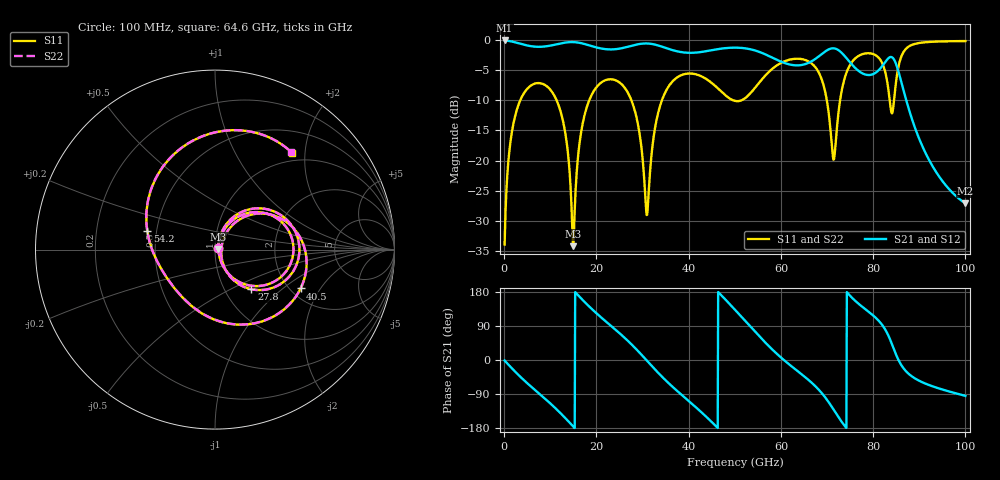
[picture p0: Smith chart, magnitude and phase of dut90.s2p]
! Touchstone file exported from HFSS 2026.1.0
!  File:  C:/ffzhzh/LocalFiles/Ansys_Project_Files/temp_train_TSV_RDL_90_1783631045_33328.aedt
!  Generated:  05:13:18 AM Jul 10, 2026
!  Design:  TSV_RDL
!  Project:  temp_train_TSV_RDL_90_1783631045_33328
! Variables:
!  h_bsmrdl = 4.13um
!  h_ox = 20um
!  h_rdl = 5um
!  h_sub = 97.27um
!  h_tmrdl = 4.3um
!  h_tsv = 97.27um
!  h_via = 3um
!  l_bsmrdl = 443.31um
!  l_sub = 3574.05um
!  l_tmrdl = 434.03um
!  m_sub = 200um
!  pitch = 45.01um
!  r_tsv = 12.47um
!  s_tmrdl = 10um
!  w_bsmrdl = 12.18um
!  w_sub = 500um
!  w_tmrdl = 23.82um
!  x_tsv_center1 = 445.94um
!  x_tsv_center2 = 901.43um
!  x_tsv_center3 = 1359.28um
!  x_tsv_center4 = 1814.77um
!  x_tsv_center5 = 2272.62um
!  x_tsv_center6 = 2728.11um
# GHz S MA R 50.000000
! Terminal data exported
! Port[1] = TM_RDL1_1_T1
! Port[2] = TM_RDL5_1_T1
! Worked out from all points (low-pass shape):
!   1000 points, 100 MHz to 100 GHz, reference 50 ohm
!   highest |S21| = -0.15 dB at 100 MHz (marker M1); lowest = -27.1 dB at 100 GHz (marker M2)
!   |S21| within 3 dB of the highest: start of sweep to 58.58 GHz; 67.56 GHz to 74.31 GHz (6.747 GHz wide, 9.51 % of centre) (the widest 2 of 3)
!   lowest |S11| = -34.1 dB at 15 GHz (marker M3), VSWR 1.04, Z = 52 + j0.426 ohm
!   |S11| at or under -10 dB: start of sweep to 3.51 GHz; 11.36 GHz to 18.46 GHz (7.106 GHz wide, 47.7 % of centre); 27.57 GHz to 34.22 GHz (6.646 GHz wide, 21.5 % of centre) (the widest 3 of 6)
!   |S22| runs from -34.1 to -0.2 dB; largest |S21 - S12| = 1.7e-14
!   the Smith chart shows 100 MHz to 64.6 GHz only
!   S11 on the Smith chart (normalised r, x): 100 MHz: 1.03, +0.02; 27.8 GHz: 1.33, -0.65; 40.5 GHz: 2.27, -1.35; 54.2 GHz: 0.44, +0.11; 64.6 GHz: 0.85, +1.75
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0.1  0.02025 33.8  0.9834 -1.4  0.9834 -1.4  0.02025 33.8
! Gamma 0 0 0 0
! Port Impedance 50 0 50 0
2.3  0.227 54.5  0.9511 -29.8  0.9511 -29.8  0.227 54.5
7.2  0.4369 2.9  0.8717 -84.6  0.8717 -84.6  0.4369 2.9
12.4  0.2419 -51.1  0.9325 -142.5  0.9325 -142.5  0.2418 -51.1
15  0.01966 12.0  0.9531 -175.7  0.9531 -175.7  0.01966 12.2
16.8  0.1821 63.4  0.9321 161.1  0.9321 161.1  0.1822 63.4
22  0.4625 10.3  0.8335 102.1  0.8335 102.1  0.4626 10.3
27.8  0.2998 -47.4  0.8925 39.0  0.8925 39.0  0.3 -47.5
30.9  0.03556 -10.4  0.9286 -1.0  0.9286 -1.0  0.03445 -11.1
33.4  0.2492 47.5  0.8939 -33.9  0.8939 -33.9  0.2488 47.8
40.5  0.524 -24.4  0.7773 -113.3  0.7773 -113.3  0.5237 -24.2
45.9  0.4096 -83.1  0.8286 -174.5  0.8286 -174.5  0.4094 -82.9
50.1  0.3112 -137.8  0.8577 131.8  0.8577 131.8  0.311 -137.3
54.2  0.3915 164.4  0.8169 77.3  0.8169 77.3  0.3913 164.7
64.6  0.689 51.6  0.6179 -38.7  0.6179 -38.7  0.6891 51.8
66.7  0.6332 32.4  0.6633 -60.3  0.6633 -60.3  0.6334 32.6
71.4  0.1019 42.7  0.8473 -130.4  0.8473 -130.4  0.1067 42.9
73.2  0.3815 91.4  0.7757 -163.5  0.7757 -163.5  0.3827 90.6
79.9  0.7618 30.3  0.5169 118.5  0.5169 118.5  0.7617 30.0
83.4  0.3624 5.8  0.7063 61.9  0.7063 61.9  0.3587 4.9
86.8  0.8115 50.2  0.3557 -25.2  0.3557 -25.2  0.8107 50.4
100  0.972 -7.0  0.04434 -94.6  0.04434 -94.6  0.972 -7.0
